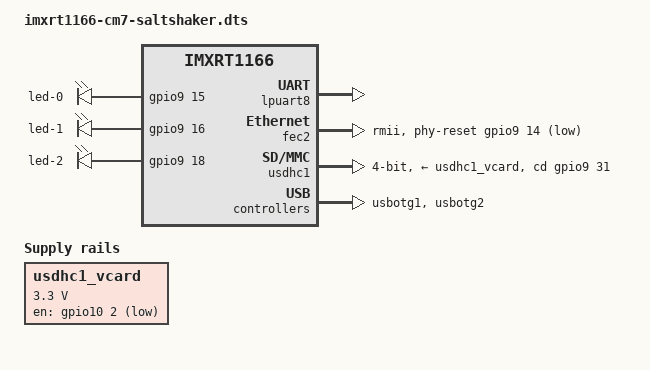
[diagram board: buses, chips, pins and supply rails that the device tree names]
/* SPDX-License-Identifier: BSD-2-Clause */

/*
 * Copyright (C) 2020-2023 embedded brains GmbH & Co. KG
 *
 * Redistribution and use in source and binary forms, with or without
 * modification, are permitted provided that the following conditions
 * are met:
 * 1. Redistributions of source code must retain the above copyright
 *    notice, this list of conditions and the following disclaimer.
 * 2. Redistributions in binary form must reproduce the above copyright
 *    notice, this list of conditions and the following disclaimer in the
 *    documentation and/or other materials provided with the distribution.
 *
 * THIS SOFTWARE IS PROVIDED BY THE COPYRIGHT HOLDERS AND CONTRIBUTORS "AS IS"
 * AND ANY EXPRESS OR IMPLIED WARRANTIES, INCLUDING, BUT NOT LIMITED TO, THE
 * IMPLIED WARRANTIES OF MERCHANTABILITY AND FITNESS FOR A PARTICULAR PURPOSE
 * ARE DISCLAIMED. IN NO EVENT SHALL THE COPYRIGHT OWNER OR CONTRIBUTORS BE
 * LIABLE FOR ANY DIRECT, INDIRECT, INCIDENTAL, SPECIAL, EXEMPLARY, OR
 * CONSEQUENTIAL DAMAGES (INCLUDING, BUT NOT LIMITED TO, PROCUREMENT OF
 * SUBSTITUTE GOODS OR SERVICES; LOSS OF USE, DATA, OR PROFITS; OR BUSINESS
 * INTERRUPTION) HOWEVER CAUSED AND ON ANY THEORY OF LIABILITY, WHETHER IN
 * CONTRACT, STRICT LIABILITY, OR TORT (INCLUDING NEGLIGENCE OR OTHERWISE)
 * ARISING IN ANY WAY OUT OF THE USE OF THIS SOFTWARE, EVEN IF ADVISED OF THE
 * POSSIBILITY OF SUCH DAMAGE.
 */

/*
 * FIXME: Compilation should be automated.
 *
 * Compile this file with the following commands:
 *     export BSP_DIR="${RTEMS_SRC_DIR}/bsps/arm/imxrt/"
 *     arm-rtems6-cpp -P -x assembler-with-cpp -I "${BSP_DIR}/include/" -include "${BSP_DIR}/dts/imxrt1166-cm7-saltshaker.dts" /dev/null | \
 *         dtc -O dtb -o "${BSP_DIR}/dts/imxrt1166-cm7-saltshaker.dtb" -b 0 -p 64
 *     rtems-bin2c -A 8 -C -N imxrt_dtb "${BSP_DIR}/dts/imxrt1166-cm7-saltshaker.dtb" "${BSP_DIR}/dts/imxrt1166-cm7-saltshaker.c"
 *     head -27 "${BSP_DIR}/dts/imxrt1166-cm7-saltshaker.dts" > "${BSP_DIR}/dts/imxrt1166-cm7-saltshaker.c"
 *     cat "${BSP_DIR}/dts/imxrt1166-cm7-saltshaker.tmp.c" >> "${BSP_DIR}/dts/imxrt1166-cm7-saltshaker.c"
 */

/dts-v1/;

#include <imxrt/imxrt1166-pinfunc.h>
#include <imxrt/imxrt1166.dtsi>

/ {
	led-controller {
		compatible = "gpio-leds";
		pinctrl-0 = <&pinctrl_led>;
		status = "okay";

		led-0 {
			gpios = <&gpio9 15 0>;
		};
		led-1 {
			gpios = <&gpio9 16 0>;
		};
		led-2 {
			gpios = <&gpio9 18 0>;
		};
	};

	usdhc1_vcard: usdhc1_vcard {
		compatible = "regulator-fixed";
		regulator-name = "usdhc1-supply";
		regulator-min-microvolt = <3300000>;
		regulator-max-microvolt = <3300000>;
		gpio = <&gpio10 2 0>;
		regulator-boot-on;
	};
};

&lpuart8 {
	pinctrl-0 = <&pinctrl_lpuart8>;
	status = "okay";
};

&chosen {
	stdout-path = &lpuart8;
};

&fec2 {
	pinctrl-0 = <&pinctrl_fec2>;
	phy-reset-gpios = <&gpio9 14 1>;
	phy-mode = "rmii";
	status = "okay";
};

&lpi2c1 {
	pinctrl-0 = <&pinctrl_lpi2c1>;
};

&lpi2c5 {
	pinctrl-0 = <&pinctrl_lpi2c5>;
};

&lpi2c6 {
	pinctrl-0 = <&pinctrl_lpi2c6>;
};

&lpspi1 {
	pinctrl-0 = <&pinctrl_lpspi1>;
};

&lpspi3 {
	pinctrl-0 = <&pinctrl_lpspi3>;
};

&lpspi4 {
	pinctrl-0 = <&pinctrl_lpspi4>;
};

&lpuart7 {
	pinctrl-0 = <&pinctrl_lpuart7>;
};

&lpuart12 {
	pinctrl-0 = <&pinctrl_lpuart12>;
};

&usdhc1 {
	pinctrl-0 = <&pinctrl_usdhc1>;
	status = "okay";
	bus-width = <4>;
	cd-gpios = <&gpio9 31 1>;
	cd-inverted;
	vmmc-supply = <&usdhc1_vcard>;
};

&video_mux {
	pinctrl-0 = <&pinctrl_video_mux>;
	status = "disabled";
};

&usbotg1 {
	status = "okay";
};

&usbotg2 {
	status = "okay";
};

&iomuxc {
	pinctrl_lpuart8: lpuart8grp {
		fsl,pins = <
			IMXRT_PAD_GPIO_AD_02_LPUART8_TXD	0x8
			IMXRT_PAD_GPIO_AD_03_LPUART8_RXD	0x13000
		>;
	};

	pinctrl_fec2: fec2grp {
		fsl,pins = <
			IMXRT_PAD_GPIO_AD_33_ENET_MDIO		0x1c
			IMXRT_PAD_GPIO_EMC_B2_19_ENET_MDC	0x00
			IMXRT_PAD_GPIO_AD_26_ENET_RX_DATA00	0x02
			IMXRT_PAD_GPIO_AD_27_ENET_RX_DATA01	0x02
			IMXRT_PAD_GPIO_AD_24_ENET_RX_EN		0x02
			IMXRT_PAD_GPIO_AD_30_ENET_TX_DATA00	0x02
			IMXRT_PAD_GPIO_AD_31_ENET_TX_DATA01	0x02
			IMXRT_PAD_GPIO_AD_28_ENET_TX_EN		0x02
			IMXRT_PAD_GPIO_AD_29_ENET_REF_CLK	0x40000002
			IMXRT_PAD_GPIO_AD_25_ENET_RX_ER		0x02
			/* ENET_RST */
			IMXRT_PAD_GPIO_AD_15_GPIO9_IO14		0x1c
		>;
	};

	pinctrl_lpi2c1: lpi2c1grp {
		fsl,pins = <
			IMXRT_PAD_GPIO_AD_08_LPI2C1_SCL		0x40000011
			IMXRT_PAD_GPIO_AD_09_LPI2C1_SDA		0x40000011
		>;
	};

	pinctrl_lpspi3: lpspi3grp {
		fsl,pins = <
			IMXRT_PAD_GPIO_EMC_B2_04_LPSPI3_SCK	0x04
			IMXRT_PAD_GPIO_EMC_B2_06_LPSPI3_SOUT	0x04
			IMXRT_PAD_GPIO_EMC_B2_07_LPSPI3_SIN	0x04
			IMXRT_PAD_GPIO_EMC_B2_05_LPSPI3_PCS0	0x04
			IMXRT_PAD_GPIO_EMC_B2_08_LPSPI3_PCS1	0x04
			IMXRT_PAD_GPIO_EMC_B2_09_LPSPI3_PCS2	0x04
			IMXRT_PAD_GPIO_EMC_B2_10_LPSPI3_PCS3	0x04
		>;
	};

	pinctrl_lpspi3: lpspi3grp {
		fsl,pins = <
			IMXRT_PAD_GPIO_EMC_B2_04_LPSPI3_SCK	0x06
			IMXRT_PAD_GPIO_EMC_B2_06_LPSPI3_SOUT	0x06
			IMXRT_PAD_GPIO_EMC_B2_07_LPSPI3_SIN	0x06
			IMXRT_PAD_GPIO_EMC_B2_05_LPSPI3_PCS0	0x06
			IMXRT_PAD_GPIO_EMC_B2_08_LPSPI3_PCS1	0x06
			IMXRT_PAD_GPIO_EMC_B2_09_LPSPI3_PCS2	0x06
			IMXRT_PAD_GPIO_EMC_B2_10_LPSPI3_PCS3	0x06
		>;
	};

	pinctrl_lpspi1: lpspi1grp {
		fsl,pins = <
			IMXRT_PAD_GPIO_AD_20_LPSPI1_PCS3	0x06
			IMXRT_PAD_GPIO_EMC_B2_00_LPSPI1_SCK	0x06
			IMXRT_PAD_GPIO_EMC_B2_01_LPSPI1_PCS0	0x06
			IMXRT_PAD_GPIO_EMC_B2_02_LPSPI1_SOUT	0x06
			IMXRT_PAD_GPIO_EMC_B2_03_LPSPI1_SIN	0x06
		>;
	};

	pinctrl_lpspi4: lpspi4grp {
		fsl,pins = <
			IMXRT_PAD_GPIO_SD_B2_00_LPSPI4_SCK	0x06
			IMXRT_PAD_GPIO_SD_B2_01_LPSPI4_PCS0	0x06
			IMXRT_PAD_GPIO_SD_B2_02_LPSPI4_SOUT	0x06
			IMXRT_PAD_GPIO_SD_B2_03_LPSPI4_SIN	0x06
			IMXRT_PAD_GPIO_SD_B2_04_LPSPI4_PCS1	0x06
			IMXRT_PAD_GPIO_SD_B2_05_LPSPI4_PCS2	0x06
		>;
	};

	pinctrl_lpuart7: lpuart7grp {
		fsl,pins = <
			IMXRT_PAD_GPIO_AD_00_LPUART7_TXD	0x0c
			IMXRT_PAD_GPIO_AD_01_LPUART7_RXD	0x0c
		>;
	};

	pinctrl_usdhc1: usdhc1grp {
		fsl,pins = <
			IMXRT_PAD_GPIO_SD_B1_00_USDHC1_CMD	0x04
			IMXRT_PAD_GPIO_SD_B1_01_USDHC1_CLK	0x08
			IMXRT_PAD_GPIO_SD_B1_02_USDHC1_DATA0	0x04
			IMXRT_PAD_GPIO_SD_B1_03_USDHC1_DATA1	0x04
			IMXRT_PAD_GPIO_SD_B1_04_USDHC1_DATA2	0x04
			IMXRT_PAD_GPIO_SD_B1_05_USDHC1_DATA3	0x04
			IMXRT_PAD_GPIO_AD_32_GPIO9_IO31		0x10 /* CD */
			IMXRT_PAD_GPIO_AD_34_GPIO10_IO01	0x00 /* VSEL */
			IMXRT_PAD_GPIO_AD_35_GPIO10_IO02	0x00 /* PWR_B */
		>;
	};

	pinctrl_video_mux: videomuxgrp {
		fsl,pins = <
			IMXRT_PAD_GPIO_DISP_B1_00_VIDEO_MUX_LCDIF_CLK	 0x0a
			IMXRT_PAD_GPIO_DISP_B1_01_VIDEO_MUX_LCDIF_ENABLE 0x0a
			IMXRT_PAD_GPIO_DISP_B1_02_VIDEO_MUX_LCDIF_HSYNC	 0x0a
			IMXRT_PAD_GPIO_DISP_B1_03_VIDEO_MUX_LCDIF_VSYNC	 0x0a
			IMXRT_PAD_GPIO_DISP_B1_04_VIDEO_MUX_LCDIF_DATA00 0x0a
			IMXRT_PAD_GPIO_DISP_B1_05_VIDEO_MUX_LCDIF_DATA01 0x0a
			IMXRT_PAD_GPIO_DISP_B1_06_VIDEO_MUX_LCDIF_DATA02 0x0a
			IMXRT_PAD_GPIO_DISP_B1_07_VIDEO_MUX_LCDIF_DATA03 0x0a
			IMXRT_PAD_GPIO_DISP_B1_08_VIDEO_MUX_LCDIF_DATA04 0x0a
			IMXRT_PAD_GPIO_DISP_B1_09_VIDEO_MUX_LCDIF_DATA05 0x0a
			IMXRT_PAD_GPIO_DISP_B1_10_VIDEO_MUX_LCDIF_DATA06 0x0a
			IMXRT_PAD_GPIO_DISP_B1_11_VIDEO_MUX_LCDIF_DATA07 0x0a
			IMXRT_PAD_GPIO_DISP_B2_00_VIDEO_MUX_LCDIF_DATA08 0x0a
			IMXRT_PAD_GPIO_DISP_B2_01_VIDEO_MUX_LCDIF_DATA09 0x0a
			IMXRT_PAD_GPIO_DISP_B2_02_VIDEO_MUX_LCDIF_DATA10 0x0a
			IMXRT_PAD_GPIO_DISP_B2_03_VIDEO_MUX_LCDIF_DATA11 0x0a
			IMXRT_PAD_GPIO_DISP_B2_04_VIDEO_MUX_LCDIF_DATA12 0x0a
			IMXRT_PAD_GPIO_DISP_B2_05_VIDEO_MUX_LCDIF_DATA13 0x0a
			IMXRT_PAD_GPIO_DISP_B2_06_VIDEO_MUX_LCDIF_DATA14 0x0a
			IMXRT_PAD_GPIO_DISP_B2_07_VIDEO_MUX_LCDIF_DATA15 0x0a
			IMXRT_PAD_GPIO_DISP_B2_08_VIDEO_MUX_LCDIF_DATA16 0x0a
			IMXRT_PAD_GPIO_DISP_B2_09_VIDEO_MUX_LCDIF_DATA17 0x0a
			IMXRT_PAD_GPIO_DISP_B2_10_VIDEO_MUX_LCDIF_DATA18 0x0a
			IMXRT_PAD_GPIO_DISP_B2_11_VIDEO_MUX_LCDIF_DATA19 0x0a
			IMXRT_PAD_GPIO_DISP_B2_12_VIDEO_MUX_LCDIF_DATA20 0x0a
			IMXRT_PAD_GPIO_DISP_B2_13_VIDEO_MUX_LCDIF_DATA21 0x0a
			IMXRT_PAD_GPIO_DISP_B2_14_VIDEO_MUX_LCDIF_DATA22 0x0a
			IMXRT_PAD_GPIO_DISP_B2_15_VIDEO_MUX_LCDIF_DATA23 0x0a
		>;
	};

	pinctrl_led: ledgrp {
		fsl,pins = <
			IMXRT_PAD_GPIO_AD_16_GPIO9_IO15		0x00
			IMXRT_PAD_GPIO_AD_17_GPIO9_IO16		0x00
			IMXRT_PAD_GPIO_AD_19_GPIO9_IO18		0x00
		>;
	};

	pinctrl_lpi2c5: lpi2c5grp {
		fsl,pins = <
			IMXRT_PAD_GPIO_LPSR_09_LPI2C5_SCL	0x40000011
			IMXRT_PAD_GPIO_LPSR_08_LPI2C5_SDA	0x40000011
		>;
	};

	pinctrl_lpi2c6: lpi2c6grp {
		fsl,pins = <
			IMXRT_PAD_GPIO_LPSR_07_LPI2C6_SCL	0x40000011
			IMXRT_PAD_GPIO_LPSR_06_LPI2C6_SDA	0x40000011
		>;
	};

	pinctrl_lpuart12: lpuart12grp {
		fsl,pins = <
			IMXRT_PAD_GPIO_LPSR_00_LPUART12_TXD	0x0d
			IMXRT_PAD_GPIO_LPSR_01_LPUART12_RXD	0x0d
			IMXRT_PAD_GPIO_LPSR_04_LPUART12_RTS_B	0x0d
			IMXRT_PAD_GPIO_LPSR_05_LPUART12_CTS_B	0x0d
		>;
	};
};
